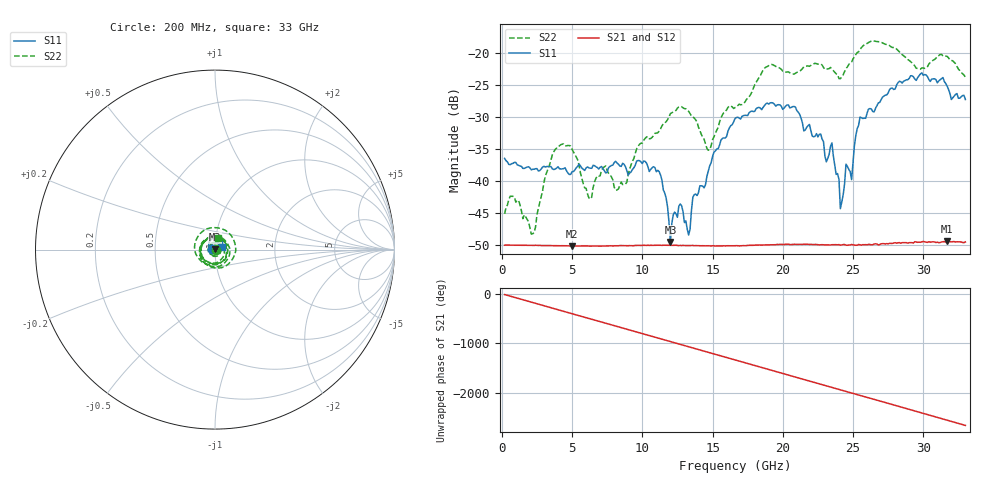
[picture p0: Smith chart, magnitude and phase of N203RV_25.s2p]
# GHZ S RI R 50
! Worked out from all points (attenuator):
!   329 points, 200 MHz to 33 GHz, reference 50 ohm
!   highest |S21| = -49.36 dB at 31.7 GHz (marker M1); lowest = -50.1 dB at 5 GHz (marker M2)
!   lowest |S11| = -49.5 dB at 12 GHz (marker M3), VSWR 1.01, Z = 49.7 + j0.221 ohm
!   |S11| at or under -10 dB: start of sweep to end of sweep
!   |S22| runs from -48.2 to -18.1 dB; largest |S21 - S12| = 7.3e-05
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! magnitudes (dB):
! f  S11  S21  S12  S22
! 200 MHz  -36.5  -50.0  -49.9  -45.1
! 2.3 GHz  -38.1  -50.0  -50.0  -48.0
! 3.6 GHz  -38.1  -50.0  -50.0  -35.9
! 5 GHz  -38.5  -50.1  -50.1  -35.0
! 5.7 GHz  -38.0  -50.1  -50.1  -39.6
! 8.2 GHz  -37.2  -50.1  -50.0  -41.4
! 11.2 GHz  -38.5  -50.0  -50.0  -32.2
! 12 GHz  -49.5  -50.0  -50.0  -29.5
! 12.7 GHz  -43.6  -50.0  -50.0  -28.4
! 13.3 GHz  -48.4  -50.0  -50.0  -29.1
! 13.6 GHz  -42.5  -50.0  -50.0  -30.0
! 14.7 GHz  -38.4  -50.1  -50.1  -35.2
! 16.6 GHz  -30.2  -50.0  -50.0  -28.5
! 20.4 GHz  -28.1  -49.8  -49.8  -23.0
! 22.1 GHz  -33.0  -49.9  -49.8  -21.8
! 23.5 GHz  -34.0  -49.9  -49.9  -22.5
! 24.1 GHz  -44.3  -50.0  -49.9  -24.0
! 24.9 GHz  -39.8  -49.9  -49.9  -21.4
! 25.5 GHz  -30.0  -49.9  -49.9  -19.5
! 27.6 GHz  -25.7  -49.7  -49.7  -18.9
! 31.7 GHz  -25.2  -49.4  -49.5  -20.6
! 33 GHz  -27.3  -49.5  -49.5  -23.8
